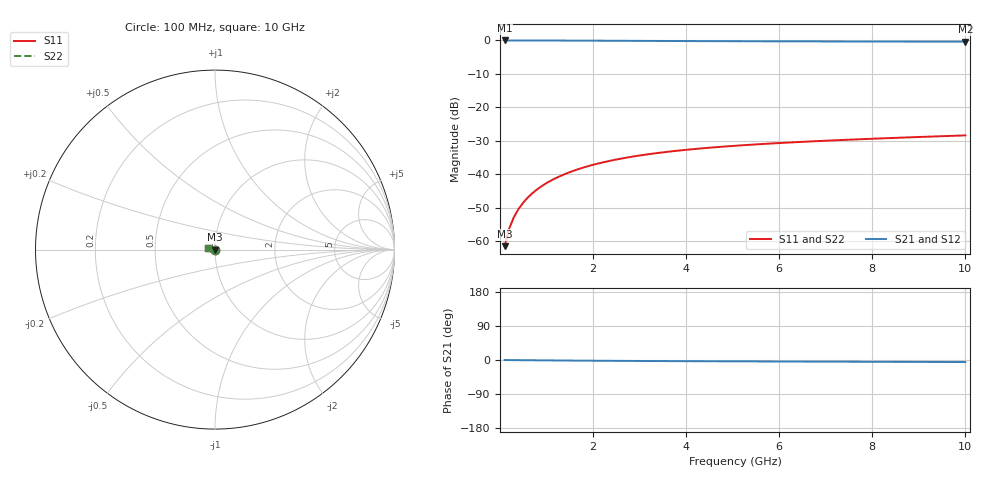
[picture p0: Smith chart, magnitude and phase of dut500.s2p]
! Touchstone file exported from HFSS 2024.1.0
!  File:  C:/UserFiles/LocalFiles/RDL_TSV_Batchsim/temp_TSV1_500_1779701430.aedt
!  Generated:  05:41:28 PM May 25, 2026
!  Design:  TSV1
!  Project:  temp_TSV1_500_1779701430
!  Setup:  Setup1
!  Solution:  Sweep
! Variables:
!  dtsv = 6.11um
!  hbump = 3um
!  htsv = 84.53um
!  lrdl = 252.1521522um
!  p = 40
!  p1 = 40.69um
!  t = 500um
!  trdl = 3um
!  wrdl = 24.89489489um
# GHz S MA R 50.000000
! Terminal data exported
! Port[1] = TSV22_T1
! Port[2] = TSV22_T2
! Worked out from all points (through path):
!   100 points, 100 MHz to 10 GHz, reference 50 ohm
!   highest |S21| = 0.00 dB at 100 MHz (marker M1); lowest = -0.4 dB at 10 GHz (marker M2)
!   lowest |S11| = -61.6 dB at 100 MHz (marker M3), VSWR 1.00, Z = 50 - j0.0747 ohm
!   |S11| at or under -10 dB: start of sweep to end of sweep
!   |S22| runs from -61.6 to -28.4 dB; largest |S21 - S12| = 4e-15
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0.1  0.0008343 -63.4  0.9996 -0.1  0.9996 -0.1  0.0008343 -63.4
! Gamma 0 0 0 0
! Port Impedance 50 0 50 0
0.2  0.001541 -78.4  0.9995 -0.2  0.9995 -0.2  0.001541 -78.4
0.3  0.002273 -85.0  0.9994 -0.3  0.9994 -0.3  0.002273 -85.0
0.4  0.003008 -89.3  0.9992 -0.4  0.9992 -0.4  0.003008 -89.3
0.5  0.003742 -92.5  0.999 -0.5  0.999 -0.5  0.003742 -92.5
0.6  0.004473 -95.3  0.9987 -0.6  0.9987 -0.6  0.004473 -95.3
0.7  0.005198 -97.7  0.9985 -0.7  0.9985 -0.7  0.005198 -97.7
0.8  0.005916 -100.0  0.9981 -0.8  0.9981 -0.8  0.005916 -100.0
0.9  0.006627 -102.1  0.9978 -0.9  0.9978 -0.9  0.006627 -102.1
1.1  0.008024 -106.1  0.9969 -1.1  0.9969 -1.1  0.008023 -106.1
1.4  0.01004 -111.6  0.9954 -1.4  0.9954 -1.4  0.01004 -111.6
1.6  0.01133 -115.0  0.9943 -1.6  0.9943 -1.6  0.01133 -115.0
1.8  0.01257 -118.4  0.9931 -1.7  0.9931 -1.7  0.01257 -118.4
2.1  0.01434 -123.1  0.9912 -2.0  0.9912 -2.0  0.01434 -123.1
2.5  0.01652 -129.1  0.9886 -2.2  0.9886 -2.2  0.01652 -129.1
2.9  0.0185 -134.7  0.9859 -2.5  0.9859 -2.5  0.0185 -134.7
3.4  0.02073 -141.2  0.9827 -2.8  0.9827 -2.8  0.02073 -141.2
4.2  0.02379 -150.5  0.9779 -3.2  0.9779 -3.2  0.02379 -150.5
5.1  0.02667 -159.7  0.9734 -3.6  0.9734 -3.6  0.02667 -159.7
6.7  0.03087 -173.3  0.9671 -4.2  0.9671 -4.2  0.03087 -173.3
8.4  0.03465 174.9  0.9625 -4.8  0.9625 -4.8  0.03465 174.9
10  0.03794 165.7  0.9594 -5.4  0.9594 -5.4  0.03794 165.7
